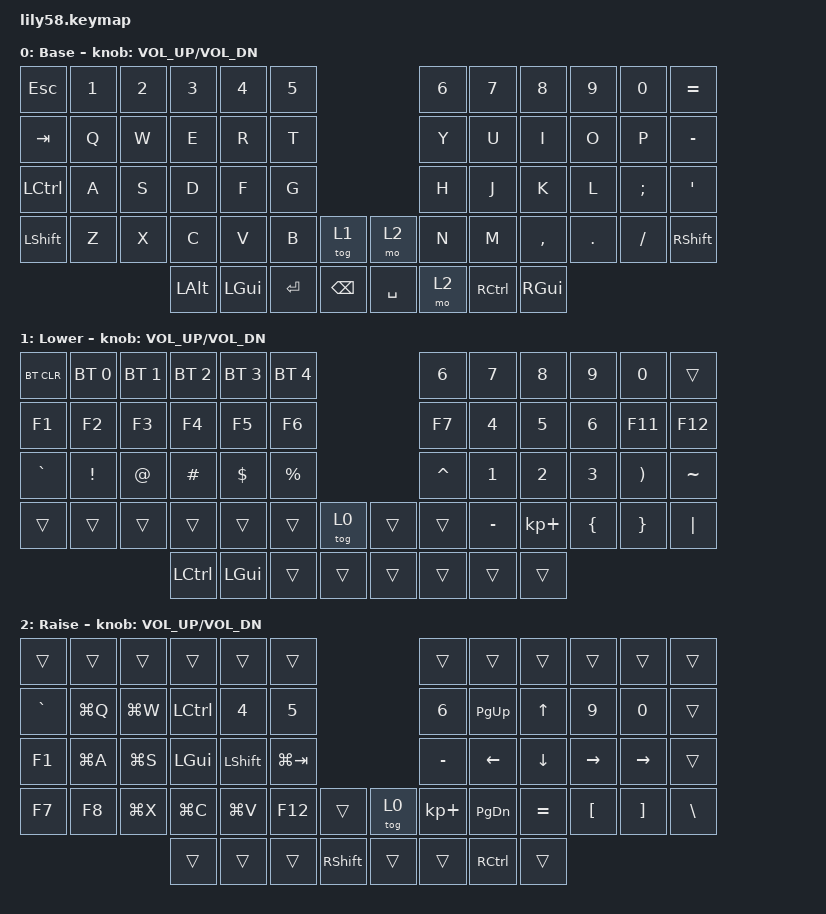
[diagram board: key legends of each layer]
/*
 * Copyright (c) 2020 The ZMK Contributors
 *
 * SPDX-License-Identifier: MIT
 */

#include <behaviors.dtsi>
#include <dt-bindings/zmk/bt.h>
#include <dt-bindings/zmk/keys.h>

/ {
    keymap {
        compatible = "zmk,keymap";

        default_layer {
            // ------------------------------------------------------------------------------------------------------------
            // |  ESC  |  1  |  2  |  3   |  4   |  5   |                   |  6   |  7    |  8    |  9   |   0   |   `   |
            // |  TAB  |  Q  |  W  |  E   |  R   |  T   |                   |  Y   |  U    |  I    |  O   |   P   |   -   |
            // |  CTRL |  A  |  S  |  D   |  F   |  G   |                   |  H   |  J    |  K    |  L   |   ;   |   '   |
            // | SHIFT |  Z  |  X  |  C   |  V   |  B   |   "["  |  |  "]"  |  N   |  M    |  ,    |  .   |   /   | SHIFT |
            //                     | ALT  | GUI  | LOWER|  SPACE |  | ENTER | RAISE| BSPC  | GUI   |

            display-name = "Base";
            bindings = <
&kp ESC    &kp N1  &kp N2  &kp N3    &kp N4    &kp N5                                 &kp N6  &kp N7             &kp N8     &kp N9   &kp N0    &kp EQUAL
&kp TAB    &kp Q   &kp W   &kp E     &kp R     &kp T                                  &kp Y   &kp U              &kp I      &kp O    &kp P     &kp MINUS
&kp LCTRL  &kp A   &kp S   &kp D     &kp F     &kp G                                  &kp H   &kp J              &kp K      &kp L    &kp SEMI  &kp SQT
&kp LSHFT  &kp Z   &kp X   &kp C     &kp V     &kp B      &tog 1           &mo 2      &kp N   &kp M              &kp COMMA  &kp DOT  &kp FSLH  &kp RSHFT
                           &kp LALT  &kp LGUI  &kp ENTER  &kp BACKSPACE    &kp SPACE  &mo 2   &kp RIGHT_CONTROL  &kp RGUI
            >;

            sensor-bindings = <&inc_dec_kp C_VOL_UP C_VOL_DN>;
        };

        lower_layer {
            // ------------------------------------------------------------------------------------------------------------
            // | BTCLR | BT1 | BT2 |  BT3 |  BT4 |  BT5 |                   |      |       |       |      |       |       |
            // |  F1   |  F2 |  F3 |  F4  |  F5  |  F6  |                   |  F7  |  F8   |  F9   |  F10 |  F11  |  F12  |
            // |   `   |  !  |  @  |  #   |  $   |  %   |                   |  ^   |  &    |  *    |  (   |   )   |   ~   |
            // |       |     |     |      |      |      |        |  |       |      |  _    |  +    |  {   |   }   |  "|"  |
            //                     |      |      |      |        |  |       |      |       |       |

            display-name = "Lower";
            bindings = <
&bt BT_CLR  &bt BT_SEL 0  &bt BT_SEL 1  &bt BT_SEL 2  &bt BT_SEL 3  &bt BT_SEL 4                    &kp NUMBER_6  &kp N7        &kp N8        &kp N9        &kp N0    &trans
&kp F1      &kp F2        &kp F3        &kp F4        &kp F5        &kp F6                          &kp F7        &kp NUMBER_4  &kp N5        &kp NUMBER_6  &kp F11   &kp F12
&kp GRAVE   &kp EXCL      &kp AT        &kp HASH      &kp DOLLAR    &kp PRCNT                       &kp CARET     &kp NUMBER_1  &kp NUMBER_2  &kp NUMBER_3  &kp RPAR  &kp TILDE
&trans      &trans        &trans        &trans        &trans        &trans        &tog 0    &trans  &trans        &kp MINUS     &kp KP_PLUS   &kp LBRC      &kp RBRC  &kp PIPE
                                        &kp LCTRL     &kp LEFT_GUI  &trans        &trans    &trans  &trans        &trans        &trans
            >;

            sensor-bindings = <&inc_dec_kp C_VOL_UP C_VOL_DN>;
        };

        raise_layer {
            // ------------------------------------------------------------------------------------------------------------
            // |       |     |     |      |      |      |                   |      |       |       |      |       |       |
            // |   `   |  1  |  2  |  3   |  4   |  5   |                   |  6   |   7   |   8   |  9   |   0   |       |
            // |   F1  |  F2 |  F3 |  F4  |  F5  |  F6  |                   |      |   <-  |   v   |  ^   |  ->   |       |
            // |   F7  |  F8 |  F9 |  F10 |  F11 |  F12 |        |  |       |  +   |   -   |   =   |  [   |   ]   |   \   |
            //                     |      |      |      |        |  |       |      |       |       |

            display-name = "Raise";
            bindings = <
&trans     &trans     &trans     &trans            &trans          &trans                                  &trans       &trans             &trans        &trans     &trans     &trans
&kp GRAVE  &kp LG(Q)  &kp LG(W)  &kp LEFT_CONTROL  &kp N4          &kp N5                                  &kp N6       &kp PG_UP          &kp UP_ARROW  &kp N9     &kp N0     &trans
&kp F1     &kp LG(A)  &kp LG(S)  &kp LEFT_GUI      &kp LEFT_SHIFT  &kp LG(TAB)                             &kp MINUS    &kp LEFT           &kp DOWN      &kp RIGHT  &kp RIGHT  &trans
&kp F7     &kp F8     &kp LG(X)  &kp LG(C)         &kp LG(V)       &kp F12      &trans             &tog 0  &kp KP_PLUS  &kp PAGE_DOWN      &kp EQUAL     &kp LBKT   &kp RBKT   &kp BSLH
                                 &trans            &trans          &trans       &kp RIGHT_SHIFT    &trans  &trans       &kp RIGHT_CONTROL  &trans
            >;

            sensor-bindings = <&inc_dec_kp C_VOL_UP C_VOL_DN>;
        };
    };
};
